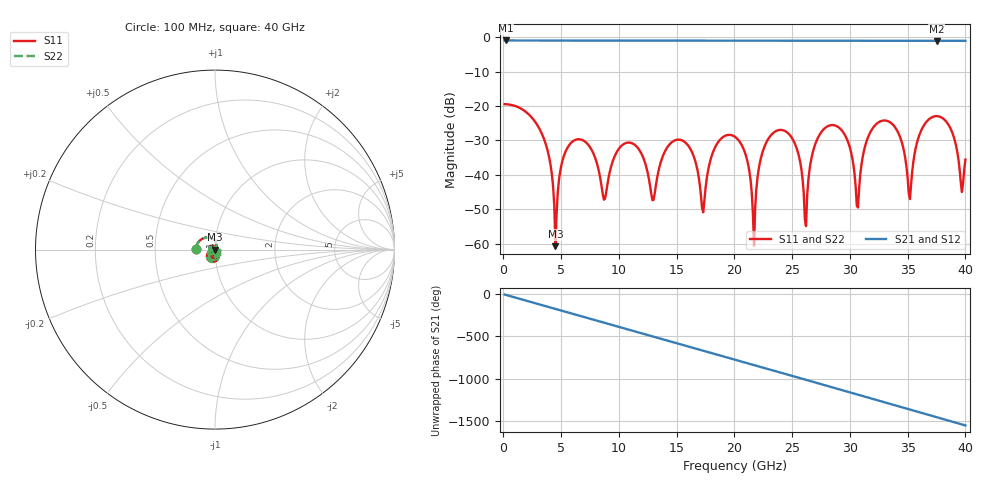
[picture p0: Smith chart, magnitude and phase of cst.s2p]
! T_ts6_ms_20: Microstrip L1, ThunderScope stack, w 0.265 mm, 20 mm
! stackup: ThunderScope Rev5.3 6-layer (FR408HR / FR-4, from the board file)
! ports: 1 near A, 2 far A
! CST Studio Suite 2025.5 Release from 2025-05-30, time domain (FIT, hexahedral, PBA), 157209 mesh cells, 34 s
! mesh: {'lpw': 20, 'lpb': 20, 'minstep': 0.0, 'ratio': 20}; ports: port 1 (face); port 2 (face)
! interpolated from CST's 1001 samples to the case grid
# Hz S RI R 50
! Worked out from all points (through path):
!   400 points, 100 MHz to 40 GHz, reference 50 ohm
!   highest |S21| = -0.98 dB at 200 MHz (marker M1); lowest = -1.1 dB at 37.5 GHz (marker M2)
!   group delay of S21, straight-line fit = 108 ps
!   lowest |S11| = -60.8 dB at 4.5 GHz (marker M3), VSWR 1.00, Z = 50.1 - j0.0242 ohm
!   |S11| at or under -10 dB: start of sweep to end of sweep
!   |S22| runs from -60.8 to -19.5 dB; largest |S21 - S12| = 5e-07
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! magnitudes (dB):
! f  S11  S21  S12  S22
! 100 MHz  -19.5  -1.0  -1.0  -19.5
! 200 MHz  -19.5  -1.0  -1.0  -19.5
! 3.6 GHz  -30.4  -1.0  -1.0  -30.4
! 4.5 GHz  -60.8  -1.0  -1.0  -60.8
! 5.1 GHz  -36.0  -1.0  -1.0  -36.0
! 6.8 GHz  -29.9  -1.0  -1.0  -29.9
! 8.7 GHz  -47.3  -1.0  -1.0  -47.3
! 13.4 GHz  -39.3  -1.0  -1.0  -39.3
! 15.8 GHz  -30.8  -1.0  -1.0  -30.8
! 17.3 GHz  -50.9  -1.0  -1.0  -50.9
! 20.1 GHz  -29.1  -1.0  -1.0  -29.1
! 21.7 GHz  -60.6  -1.0  -1.0  -60.6
! 23 GHz  -29.2  -1.0  -1.0  -29.2
! 25.3 GHz  -31.5  -1.0  -1.0  -31.5
! 26.2 GHz  -54.9  -1.0  -1.0  -54.9
! 26.7 GHz  -34.7  -1.0  -1.0  -34.7
! 29.2 GHz  -26.8  -1.1  -1.1  -26.8
! 30.7 GHz  -49.5  -1.1  -1.1  -49.5
! 33.4 GHz  -24.6  -1.1  -1.1  -24.6
! 35.2 GHz  -47.1  -1.1  -1.1  -47.1
! 37.5 GHz  -23.0  -1.1  -1.1  -23.0
! 40 GHz  -35.6  -1.1  -1.1  -35.6
